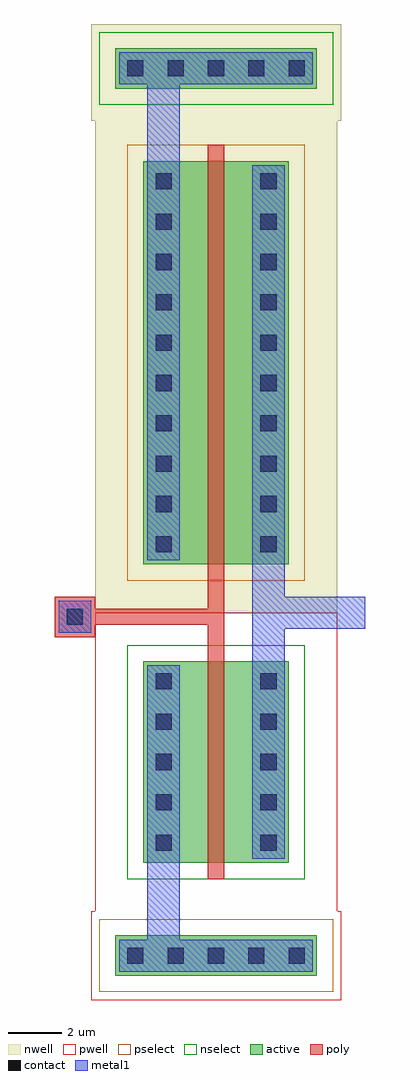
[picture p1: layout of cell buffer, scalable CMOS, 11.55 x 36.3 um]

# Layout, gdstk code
import gdstk
lib = gdstk.Library(unit=1e-6, precision=1e-09)
def R(c, l, rs):  # rectangles x0, y0, x1, y1
    for r in rs: c.add(gdstk.rectangle(r[:2], r[2:], *l))
def A(c, l, x, y, w, h, nx, ny, dx, dy):  # array of equal rectangles
    R(c, l, [(x+i*dx, y+j*dy, x+i*dx+w, y+j*dy+h) for i in range(nx) for j in range(ny)])
contact = (25, 0)
pwell = (41, 0)
nwell = (42, 0)
active = (43, 0)
pselect = (44, 0)
nselect = (45, 0)
poly = (46, 0)
metal1 = (49, 0)

buffer = lib.new_cell('buffer')
A(buffer, contact, -3.3, -16.65, 0.6, 0.6, 5, 2, 1.5, 33)
A(buffer, contact, -2.25, -12.45, 0.6, 0.6, 1, 5, 0, 1.5)
A(buffer, contact, 1.65, -12.45, 0.6, 0.6, 1, 5, 0, 1.5)
A(buffer, contact, -2.25, -1.35, 0.6, 0.6, 1, 10, 0, 1.5)
A(buffer, contact, 1.65, -1.35, 0.6, 0.6, 1, 10, 0, 1.5)
R(buffer, contact, [(-5.55,-4.05,-4.95,-3.45)])
R(buffer, pwell, [(-4.65,-18,4.65,-14.7), (-0.3,-16.65,0.3,-8.85), (-4.5,-14.7,0.6,-3.6), (-3,-14.7,3,-3.6), (-0.6,-14.7,4.5,-3.6), (-4.2,-11.4,1.125,-6.9), (-1.125,-11.4,4.35,-6.9)])
R(buffer, nwell, [(-4.5,-3.6,0.6,15), (-3,-3.6,3,15), (-0.6,-3.6,4.5,15), (-4.2,3.45,1.125,7.95), (-1.125,3.45,4.2,7.95), (-0.3,5.4,0.3,16.95), (-4.65,14.7,-1.05,18.3), (1.05,14.7,4.65,18.3), (-4.65,15,4.65,18.3)])
R(buffer, active, [(-3.75,-17.1,3.75,-15.6), (-2.7,-12.9,-1.2,-5.4), (-1.2,-12.9,1.2,-5.4), (1.2,-12.9,2.7,-5.4), (-2.4,-9.6,-0.675,-8.7), (0.675,-9.6,2.55,-8.7), (-2.7,-1.8,-1.2,13.2), (-1.2,-1.8,1.2,13.2), (1.2,-1.8,2.7,13.2), (-2.4,5.25,-0.675,6.15), (0.675,5.25,2.4,6.15), (-3.75,15.9,3.75,17.4)])
R(buffer, pselect, [(-4.35,-17.7,4.35,-15), (-3.3,-2.4,-0.6,13.8), (-1.8,-2.4,1.8,13.8), (0.6,-2.4,3.3,13.8), (-3,4.65,-0.075,6.75), (0.075,4.65,3,6.75)])
R(buffer, nselect, [(-3.3,-13.5,-0.6,-4.8), (-1.8,-13.5,1.8,-4.8), (0.6,-13.5,3.3,-4.8), (-3,-10.2,-0.075,-8.1), (0.075,-10.2,3.15,-8.1), (-4.35,15.3,4.35,18)])
R(buffer, poly, [(-0.3,-13.5,0.3,-4.8), (-0.3,-5.1,0.3,-3.45), (-6,-4.5,-4.5,-3), (-5.55,-4.05,0.3,-3.45), (-0.3,-4.05,0.3,-2.1), (-0.3,-2.4,0.3,13.8)])
R(buffer, metal1, [(-3.6,-16.95,3.6,-15.75), (-2.55,-16.95,-1.35,-8.55), (-2.55,-12.75,-1.35,-5.55), (1.35,-12.75,2.55,-5.55), (1.35,-9.75,2.55,-3), (-5.85,-4.35,-4.65,-3.15), (1.35,-4.2,2.55,6.3), (1.35,-4.2,5.55,-3), (-2.55,-1.65,-1.35,13.05), (1.35,-1.65,2.55,13.05), (-2.55,5.1,-1.35,17.25), (-3.6,16.05,3.6,17.25)])

lib.write_gds('buffer.gds')
